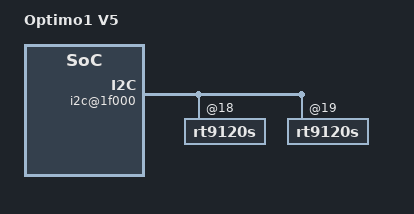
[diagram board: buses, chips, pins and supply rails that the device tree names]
/*
 * Copyright (c) 2021-2022, Sonos, Inc.
 *
 * SPDX-License-Identifier:     GPL-2.0
 *
 * v0	- Optimo1 p1a
 * v1	- Optimo1 p1b
 * v2	- Optimo1 p2a with TI amps
 * v3	- Optimo1 p2a with Richtek amps
 * v4	- Optimo1 p2b - added BT sync gpio change
 * v5	- Optimo1 EVT - lumissil led, renesas rtc, ntc/adc temp sensors, bosch accelerometer
 */

/dts-v1/;

#include "optimo_common.dtsi"

/ {
	model = "Optimo1 V5";

        sonos-product-id = <0x01>;

	sonos-platform {
		thermal-mgmt {
			   CPU {
                                compatible = "sonos,temp-ncu15";
                                adc-channel = <1>;
                                fault-temperature = <100>;
                                warn-temperature = <95>;
                                temperature-map {
                                        num-ranges = <10>;
                                        // max mV for range, a in range, b in range
                                        //   (linear ax +- b)
                                        //
                                        map-values = <  1500	249	273050
							2000	254	279520
							2400	271	313370
							2750	305	395220
							3000	358	540770
							3250	448	811180
							3500	605	1323700
							3700	883	2324500
							3800	1346	4033300
							4096	1808	5786900 >;
                                };
			};
			/delete-node/ AMP;
		};
	};

	thermal-zones {
                /delete-node/ cputhermal;
                /delete-node/ ampthermal;
        };

	soc {
		cbus@ffd00000 {
			i2c@1f000 {
				/delete-node/ tmp102@49;
				rt9120s@18 {
					status = "okay";
				};
				rt9120s@19 {
					/delete-property/ parallel-play;
					init-sequence-length2 = <15>;
					reg-init2 = < 0x63 0xDE 0x6C 0xC0 0x07 0x36 0x65 0x66 0x06 0x28
						0x02 0x03 0xA0 0x01 0xA1 0x08 0xA2 0x0C 0x27 0x01B0 0x20 0x0180 0x0c 0x38 0x09 0x81 0x6e 0x1d 0x10 0x00>;
					status = "okay";
				};
			};
			i2c@1d000 {
				/delete-node/ tmp102@48;
			};
		};
		aobus@ff800000 {
			i2c@5000 {
				/delete-node/ lp5562@0 ;
			};
		};
	};
};

#include "optimo1_captouch.dtsi"
